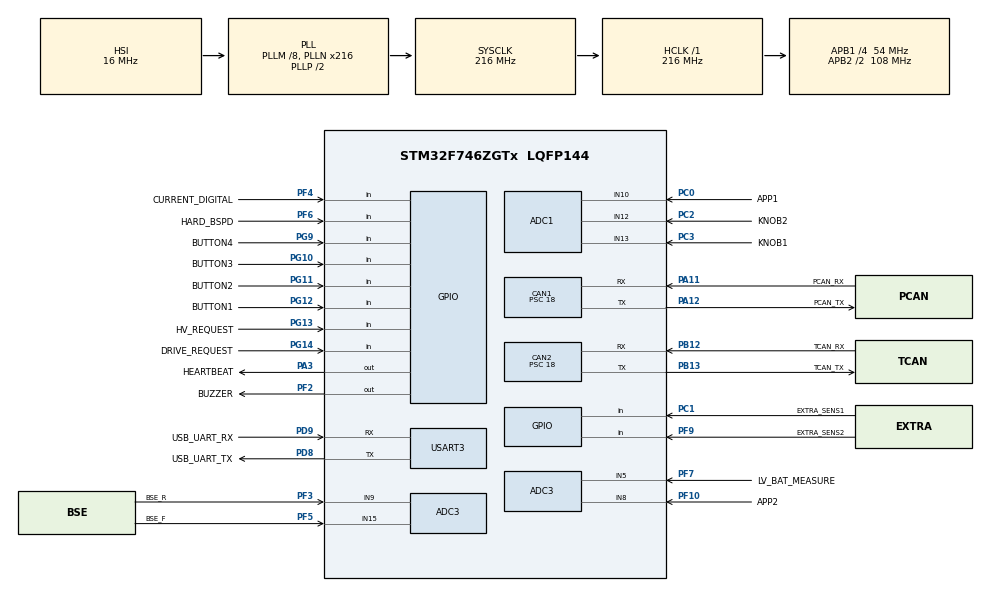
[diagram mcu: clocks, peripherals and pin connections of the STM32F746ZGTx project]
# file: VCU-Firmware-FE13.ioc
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ADC1.Channel-0\#ChannelRegularConversion=ADC_CHANNEL_10
ADC1.NbrOfConversionFlag=1
ADC1.Rank-0\#ChannelRegularConversion=1
ADC1.SamplingTime-0\#ChannelRegularConversion=ADC_SAMPLETIME_3CYCLES
ADC1.master=1
ADC3.Channel-0\#ChannelRegularConversion=ADC_CHANNEL_9
ADC3.NbrOfConversionFlag=1
ADC3.Rank-0\#ChannelRegularConversion=1
ADC3.SamplingTime-0\#ChannelRegularConversion=ADC_SAMPLETIME_3CYCLES
CAN1.BS1=CAN_BS1_2TQ
CAN1.BS2=CAN_BS2_3TQ
CAN1.CalculateBaudRate=499999
CAN1.CalculateTimeBit=2000
CAN1.CalculateTimeQuantum=333.33333333333337
CAN1.NART=DISABLE
CAN1.Prescaler=18
CAN2.BS1=CAN_BS1_2TQ
CAN2.BS2=CAN_BS2_3TQ
CAN2.CalculateBaudRate=499999
CAN2.CalculateTimeBit=2000
CAN2.CalculateTimeQuantum=333.33333333333337
CAN2.NART=DISABLE
CAN2.Prescaler=18
CORTEX_M7.MPU_Control=__NULL
CORTEX_M7.default_mode_Activation=0
Dma.ADC1.0.Direction=DMA_PERIPH_TO_MEMORY
Dma.ADC1.0.FIFOMode=DMA_FIFOMODE_DISABLE
Dma.ADC1.0.Instance=DMA2_Stream0
Dma.ADC1.0.MemDataAlignment=DMA_MDATAALIGN_HALFWORD
Dma.ADC1.0.MemInc=DMA_MINC_ENABLE
Dma.ADC1.0.Mode=DMA_NORMAL
Dma.ADC1.0.PeriphDataAlignment=DMA_PDATAALIGN_HALFWORD
Dma.ADC1.0.PeriphInc=DMA_PINC_DISABLE
Dma.ADC1.0.Priority=DMA_PRIORITY_MEDIUM
Dma.ADC3.1.Direction=DMA_PERIPH_TO_MEMORY
Dma.ADC3.1.FIFOMode=DMA_FIFOMODE_DISABLE
Dma.ADC3.1.Instance=DMA2_Stream1
Dma.ADC3.1.MemDataAlignment=DMA_MDATAALIGN_HALFWORD
Dma.ADC3.1.MemInc=DMA_MINC_ENABLE
Dma.ADC3.1.Mode=DMA_CIRCULAR
Dma.ADC3.1.PeriphDataAlignment=DMA_PDATAALIGN_HALFWORD
Dma.ADC3.1.PeriphInc=DMA_PINC_DISABLE
Dma.ADC3.1.Priority=DMA_PRIORITY_MEDIUM
Dma.Request0=ADC1
Dma.Request1=ADC3
Mcu.Family=STM32F7
Mcu.Name=STM32F746ZGTx
Mcu.Package=LQFP144
NVIC.DMA2_Stream0_IRQn=true\:0\:0\:false\:false\:true\:false\:true\:true
NVIC.DMA2_Stream1_IRQn=true\:0\:0\:false\:false\:true\:false\:true\:true
NVIC.PriorityGroup=NVIC_PRIORITYGROUP_4
PA11.GPIO_Label=PCAN_RX
PA11.Mode=CAN_Activate
PA11.Signal=CAN1_RX
PA12.GPIO_Label=PCAN_TX
PA12.Mode=CAN_Activate
PA12.Signal=CAN1_TX
PA13.Mode=Serial_Wire
PA13.Signal=SYS_JTMS-SWDIO
PA14.Mode=Serial_Wire
PA14.Signal=SYS_JTCK-SWCLK
PA15.Signal=SYS_JTDI
PA3.GPIO_Label=HEARTBEAT
PA3.Signal=GPIO_Output
PB12.GPIO_Label=TCAN_RX
PB12.Mode=CAN_Activate
PB12.Signal=CAN2_RX
PB13.GPIO_Label=TCAN_TX
PB13.Mode=CAN_Activate
PB13.Signal=CAN2_TX
PB3.Signal=SYS_JTDO-SWO
PC0.GPIO_Label=APP1
PC0.Signal=ADCx_IN10
PC1.GPIO_Label=EXTRA_SENS1
PC1.Signal=GPIO_Input
PC2.GPIO_Label=KNOB2
PC2.Signal=ADCx_IN12
PC3.GPIO_Label=KNOB1
PC3.Signal=ADCx_IN13
PD8.GPIO_Label=USB_UART_TX
PD8.Mode=Asynchronous
PD8.Signal=USART3_TX
PD9.GPIO_Label=USB_UART_RX
PD9.Mode=Asynchronous
PD9.Signal=USART3_RX
PF10.GPIO_Label=APP2
PF10.Mode=IN8
PF10.Signal=ADC3_IN8
PF2.GPIO_Label=BUZZER
PF2.Signal=GPIO_Output
PF3.GPIO_Label=BSE_R
PF3.Mode=IN9
PF3.Signal=ADC3_IN9
PF4.GPIO_Label=CURRENT_DIGITAL
PF4.Signal=GPIO_Input
PF5.GPIO_Label=BSE_F
PF5.Mode=IN15
PF5.Signal=ADC3_IN15
PF6.GPIO_Label=HARD_BSPD
PF6.Signal=GPIO_Input
PF7.GPIO_Label=LV_BAT_MEASURE
PF7.Mode=IN5
PF7.Signal=ADC3_IN5
PF9.GPIO_Label=EXTRA_SENS2
PF9.Signal=GPIO_Input
PG10.GPIO_Label=BUTTON3
PG10.Signal=GPIO_Input
PG11.GPIO_Label=BUTTON2
PG11.Signal=GPIO_Input
PG12.GPIO_Label=BUTTON1
PG12.Signal=GPIO_Input
PG13.GPIO_Label=HV_REQUEST
PG13.Signal=GPIO_Input
PG14.GPIO_Label=DRIVE_REQUEST
PG14.Signal=GPIO_Input
PG9.GPIO_Label=BUTTON4
PG9.Signal=GPIO_Input
PH0/OSC_IN.Mode=HSE-External-Oscillator
PH0/OSC_IN.Signal=RCC_OSC_IN
PH1/OSC_OUT.Mode=HSE-External-Oscillator
PH1/OSC_OUT.Signal=RCC_OSC_OUT
ProjectManager.HeapSize=0x200
ProjectManager.StackSize=0x400
ProjectManager.TargetToolchain=STM32CubeIDE
RCC.AHBFreq_Value=216000000
RCC.APB1CLKDivider=RCC_HCLK_DIV4
RCC.APB1Freq_Value=54000000
RCC.APB1TimFreq_Value=108000000
RCC.APB2CLKDivider=RCC_HCLK_DIV2
RCC.APB2Freq_Value=108000000
RCC.APB2TimFreq_Value=216000000
RCC.CortexFreq_Value=216000000
RCC.HCLKFreq_Value=216000000
RCC.HSE_VALUE=16000000
RCC.HSI_VALUE=16000000
RCC.LSE_VALUE=32768
RCC.PLLM=8
RCC.PLLN=216
RCC.SYSCLKFreq_VALUE=216000000
RCC.SYSCLKSource=RCC_SYSCLKSOURCE_PLLCLK
RCC.USBFreq_Value=216000000
RCC.VCOOutputFreq_Value=432000000
SH.ADCx_IN10.0=ADC1_IN10,IN10
SH.ADCx_IN12.0=ADC1_IN12,IN12
SH.ADCx_IN13.0=ADC1_IN13,IN13
USART3.VirtualMode-Asynchronous=VM_ASYNC
board=custom

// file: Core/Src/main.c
/* USER CODE BEGIN Header */
/**
  ******************************************************************************
  * @file           : main.c
  * @brief          : Main program body
  ******************************************************************************
  * @attention
  *
  * Copyright (c) 2025 STMicroelectronics.
  * All rights reserved.
  *
  * This software is licensed under terms that can be found in the LICENSE file
  * in the root directory of this software component.
  * If no LICENSE file comes with this software, it is provided AS-IS.
  *
  ******************************************************************************
  */
/* USER CODE END Header */
#include "main.h"

/* USER CODE BEGIN Includes */
#include "stdio.h"
#include "inttypes.h"
#include "can_manager.h"
#include "sensors.h"
#include "fsm.h"
#include "traction_control.h"
#include "driver_input.h"
#include "serial_print.h"
#include "config.h"
/* USER CODE END Includes */

ADC_HandleTypeDef hadc1;
ADC_HandleTypeDef hadc3;
DMA_HandleTypeDef hdma_adc1;
DMA_HandleTypeDef hdma_adc3;

CAN_HandleTypeDef hcan1;
CAN_HandleTypeDef hcan2;

UART_HandleTypeDef huart3;

/* USER CODE BEGIN PV */

// Keeps track of timer waiting for pre-charging
volatile unsigned int precharge_timer_ms = 0;
volatile uint8_t init_fault_cleared = 0;
extern uint32_t torque_req;

// for drive buzzer
#define BUZZ_TIME_MS 1500

/* USER CODE END PV */

void SystemClock_Config(void);
static void MX_GPIO_Init(void);
static void MX_DMA_Init(void);
static void MX_CAN1_Init(void);
static void MX_CAN2_Init(void);
static void MX_ADC1_Init(void);
static void MX_USART3_UART_Init(void);
static void MX_ADC3_Init(void);

/* USER CODE BEGIN 0 */
uint8_t shutdown_closed() {
    if (estop_flags) return 0;
    return (shutdown_flags & 0b00111000) == 0b00111000;
}

void buzzerer()
{
	static state_t last_vcu_state = LV;
	static uint32_t buzz_start = 0;
	uint32_t tick = HAL_GetTick();

	if(last_vcu_state == HV_ENABLED && state == DRIVE)
	{
		HAL_GPIO_WritePin(BUZZER_GPIO_Port, BUZZER_Pin, 1); // turn on buzzer
		buzz_start = tick;
	}
	else if(state != DRIVE || (tick - buzz_start) > BUZZ_TIME_MS)
	{
		HAL_GPIO_WritePin(BUZZER_GPIO_Port, BUZZER_Pin, 0); // turn off buzzer
	}
	else
	{
		// ice cream?
	}

	last_vcu_state = state;
}

unsigned int discrepancy_timer_ms = 0;

extern volatile uint32_t torque_percentage;
extern volatile uint32_t launch_control_param;
extern volatile uint32_t prev_torque_percentage;
extern volatile uint32_t prev_launch_control_param;
/* USER CODE END 0 */

int main(void)
{

  /* MCU Configuration--------------------------------------------------------*/

  /* Reset of all peripherals, Initializes the Flash interface and the Systick. */
  HAL_Init();

  /* Configure the system clock */
  SystemClock_Config();

  /* Initialize all configured peripherals */
  MX_GPIO_Init();
  MX_DMA_Init();
  MX_CAN1_Init();
  MX_CAN2_Init();
  MX_ADC1_Init();
  MX_USART3_UART_Init();
  MX_ADC3_Init();
  /* USER CODE BEGIN 2 */

	uint32_t precharge_tick_start = 0;
	init_sensors();

  /* USER CODE END 2 */

  /* Infinite loop */
  while (1)
  {

    /* USER CODE BEGIN 3 */

	// driver input
	driver_input_update();

	update_sensor_vals(&hadc1, &hadc3);

	buzzerer();

	/*
	 * T.4.2.5 in FSAE 2022 rulebook
	 * If an implausibility occurs between the values of the APPSs and
	 * persists for more than 100 msec, the power to the Motor(s) must
	 * be immediately stopped completely.
	 *
	 * It is not necessary to Open the Shutdown Circuit, the motor
	 * controller(s) stopping the power to the Motor(s) is sufficient.
	 */
	if (has_discrepancy()) {
		discrepancy_timer_ms += TMR1_PERIOD_MS;
		if (discrepancy_timer_ms > MAX_DISCREPANCY_MS && state == DRIVE) {
			report_fault(SENSOR_DISCREPANCY);
		}
	} else {
		discrepancy_timer_ms = 0;
	}

	// Transmit CAN messages
	can_tx_vcu_state(&hcan1);
	can_tx_torque_request(&hcan1);
	can_tx_pedals_raw(&hcan1);
	can_tx_power(&hcan1);

	// traction control // TODO ADD BACK ONCE WHEEL SPEEDS HAVE BEEN FIGURED OUT
//	if (is_button_enabled(TC_BUTTON)) {
//		traction_control_PID(front_right_wheel_speed, front_left_wheel_speed);
//	}

	// If shutdown circuit opens in any state
	if (!shutdown_closed()) {
		report_fault(SHUTDOWN_CIRCUIT_OPEN);
	}

	//if hard BSPD trips in any state
//	if (!HAL_GPIO_ReadPin(HARD_BSPD_GPIO_Port, HARD_BSPD_Pin)) {
//	  report_fault(HARD_BSPD);
//	}

	if (mc_fault) {
	  report_fault(MC_FAULT);
	}

//  	if (!init_fault_cleared && mc_fault) {
//  		can_clear_MC_fault(&hcan1);
//  	  if (mc_fault_clear_success) {
//  		 init_fault_cleared = 1;
//  	  }
//  	}

	// send driver inputs to raspi on change OR if configured to constantly send
	if (ALWAYS_SEND_DRIVER_INPUTS ||
		(torque_percentage != prev_torque_percentage || launch_control_param != prev_launch_control_param) ) {
		can_tx_buttons_and_knobs(&hcan1);
	}

	switch (state) {
		case LV_LOCK:
			run_calibration();

			if (!is_switch_on(HV_SWITCH) && !is_switch_on(DRIVE_SWITCH)) {
			  change_state(LV);
			}
			break;
		case LV:
			run_calibration();

			// check if APPS pedal was calibrated
			if(!sensors_calibrated()){
				report_fault(UNCALIBRATED);
				break;
			}

			if (is_switch_on(HV_SWITCH)) {
				add_apps_deadzone();
				precharge_tick_start = HAL_GetTick();
				change_state(PRECHARGING);
				break;
			}

			break;
		case PRECHARGING:
			// Driver turned off HV via button
			if (!is_switch_on(HV_SWITCH)) {
				change_state(LV);
				break;
			}

			if((HAL_GetTick() - precharge_tick_start) > PRECHARGE_TIMEOUT_MS){
				report_fault(PRECHARGE_TIMEOUT);
				break;
			}

		  // if main AIRs closed
			if ((shutdown_flags & 0b110) == 0b110) {
				// Finished charging to HV on time
				change_state(HV_ENABLED);
				break;
			}

			break;
		case HV_LOCK:
			if (!is_switch_on(HV_SWITCH)) {
				// Driver flipped off HV switch
				change_state(LV);
				break;
			}

			if(!is_switch_on(DRIVE_SWITCH)){
				// wait until drive is low to switch into true HV
				change_state(HV_ENABLED);
			}
			break;
		case HV_ENABLED:
			// driver turned off HV
			if (!is_switch_on(HV_SWITCH)) {// || capacitor_volt < PRECHARGE_THRESHOLD) { // don't really need volt check by rules
				change_state(LV);
				break;
			}

			// driver attempt to go to drive mode
			if (is_switch_on(DRIVE_SWITCH)) {
				if (brake_mashed()) {
					change_state(DRIVE);
				}
				else {
					// driver didn't press brake
					report_fault(BRAKE_NOT_PRESSED);
				}
			}

			break;
		case DRIVE:
			// driver turned off drive
			if (!is_switch_on(DRIVE_SWITCH)) {
				change_state(HV_ENABLED);
				break;
			}

			if (!is_switch_on(HV_SWITCH)) {// || capacitor_volt < PRECHARGE_THRESHOLD) { // don't really need volt check by rules
				// driver turned off HV
				change_state(LV);
				break;
			}

			if (is_brake_implausible()) {
				report_fault(BRAKE_IMPLAUSIBLE);
			}

			break;
		case FAULT:
			switch (error) {
				case BRAKE_NOT_PRESSED:
					if (!is_switch_on(HV_SWITCH)){
						change_state(LV);
						break;
					}

					if (!is_switch_on(DRIVE_SWITCH)) {
						// reset drive switch and try again
						change_state(HV_ENABLED);
					}
					break;
				case SENSOR_DISCREPANCY:
					// stop power to motors if discrepancy persists for >100ms
					// see rule T.4.2.5 in FSAE 2022 rulebook
					if (!is_switch_on(DRIVE_SWITCH)) {
						discrepancy_timer_ms = 0;
						change_state(HV_ENABLED);
					}

					if (!is_switch_on(HV_SWITCH))
						change_state(LV);

					break;
				case BRAKE_IMPLAUSIBLE:
					if (!is_switch_on(HV_SWITCH)){
						change_state(LV);
						break;
					}

					if (!is_switch_on(DRIVE_SWITCH)){
						change_state(HV_ENABLED);
						break;
					}

					if (!is_brake_implausible()){
						change_state(DRIVE);
						break;
					}

					break;
				case SHUTDOWN_CIRCUIT_OPEN:
					if (shutdown_closed()) {
						change_state(LV); // change to startup so we don't instantly request precharge
					}
					break;
				case HARD_BSPD:
				  //should not be recoverable, but let hardware decide this
				  /*if (!HAL_GPIO_ReadPin(HARD_BSPD_GPIO_Port, HARD_BSPD_Pin)) {
					  change_state(LV);
				  }*/
					break;

				case UNCALIBRATED:
					run_calibration();

					// check if APPS pedal was calibrated
					if(sensors_calibrated()){
						change_state(LV); // change to startup so we don't instantly request precharge
						break;
					}
					break;
				case MC_FAULT:
					if (!mc_fault) {
						change_state(LV);
					}
					break;
				case PRECHARGE_TIMEOUT:
					// give time for fault message to show on display before going to LV
					if ((HAL_GetTick() - precharge_tick_start) > PRECHARGE_TIMEOUT_MS+1000) {
						change_state(LV);
					}
					break;
				default:
					break;
			}
		break;
	  }

	//HAL_GPIO_TogglePin(HEARTBEAT_GPIO_Port, HEARTBEAT_Pin);
	HAL_Delay(1);
  }
  /* USER CODE END 3 */
}

void SystemClock_Config(void)
{
  RCC_OscInitTypeDef RCC_OscInitStruct = {0};
  RCC_ClkInitTypeDef RCC_ClkInitStruct = {0};

  /** Configure the main internal regulator output voltage
  */
  __HAL_RCC_PWR_CLK_ENABLE();
  __HAL_PWR_VOLTAGESCALING_CONFIG(PWR_REGULATOR_VOLTAGE_SCALE1);

  /** Initializes the RCC Oscillators according to the specified parameters
  * in the RCC_OscInitTypeDef structure.
  */
  RCC_OscInitStruct.OscillatorType = RCC_OSCILLATORTYPE_HSI;
  RCC_OscInitStruct.HSIState = RCC_HSI_ON;
  RCC_OscInitStruct.HSICalibrationValue = RCC_HSICALIBRATION_DEFAULT;
  RCC_OscInitStruct.PLL.PLLState = RCC_PLL_ON;
  RCC_OscInitStruct.PLL.PLLSource = RCC_PLLSOURCE_HSI;
  RCC_OscInitStruct.PLL.PLLM = 8;
  RCC_OscInitStruct.PLL.PLLN = 216;
  RCC_OscInitStruct.PLL.PLLP = RCC_PLLP_DIV2;
  RCC_OscInitStruct.PLL.PLLQ = 2;
  if (HAL_RCC_OscConfig(&RCC_OscInitStruct) != HAL_OK)
  {
    Error_Handler();
  }

  /** Activate the Over-Drive mode
  */
  if (HAL_PWREx_EnableOverDrive() != HAL_OK)
  {
    Error_Handler();
  }

  /** Initializes the CPU, AHB and APB buses clocks
  */
  RCC_ClkInitStruct.ClockType = RCC_CLOCKTYPE_HCLK|RCC_CLOCKTYPE_SYSCLK
                              |RCC_CLOCKTYPE_PCLK1|RCC_CLOCKTYPE_PCLK2;
  RCC_ClkInitStruct.SYSCLKSource = RCC_SYSCLKSOURCE_PLLCLK;
  RCC_ClkInitStruct.AHBCLKDivider = RCC_SYSCLK_DIV1;
  RCC_ClkInitStruct.APB1CLKDivider = RCC_HCLK_DIV4;
  RCC_ClkInitStruct.APB2CLKDivider = RCC_HCLK_DIV2;

  if (HAL_RCC_ClockConfig(&RCC_ClkInitStruct, FLASH_LATENCY_7) != HAL_OK)
  {
    Error_Handler();
  }
}

static void MX_ADC1_Init(void)
{

  ADC_ChannelConfTypeDef sConfig = {0};

  /** Configure the global features of the ADC (Clock, Resolution, Data Alignment and number of conversion)
  */
  hadc1.Instance = ADC1;
  hadc1.Init.ClockPrescaler = ADC_CLOCK_SYNC_PCLK_DIV4;
  hadc1.Init.Resolution = ADC_RESOLUTION_12B;
  hadc1.Init.ScanConvMode = ADC_SCAN_DISABLE;
  hadc1.Init.ContinuousConvMode = DISABLE;
  hadc1.Init.DiscontinuousConvMode = DISABLE;
  hadc1.Init.ExternalTrigConvEdge = ADC_EXTERNALTRIGCONVEDGE_NONE;
  hadc1.Init.ExternalTrigConv = ADC_SOFTWARE_START;
  hadc1.Init.DataAlign = ADC_DATAALIGN_RIGHT;
  hadc1.Init.NbrOfConversion = 1;
  hadc1.Init.DMAContinuousRequests = DISABLE;
  hadc1.Init.EOCSelection = ADC_EOC_SINGLE_CONV;
  if (HAL_ADC_Init(&hadc1) != HAL_OK)
  {
    Error_Handler();
  }

  /** Configure for the selected ADC regular channel its corresponding rank in the sequencer and its sample time.
  */
  sConfig.Channel = ADC_CHANNEL_10;
  sConfig.Rank = ADC_REGULAR_RANK_1;
  sConfig.SamplingTime = ADC_SAMPLETIME_3CYCLES;
  if (HAL_ADC_ConfigChannel(&hadc1, &sConfig) != HAL_OK)
  {
    Error_Handler();
  }

}

static void MX_ADC3_Init(void)
{

  ADC_ChannelConfTypeDef sConfig = {0};

  /** Configure the global features of the ADC (Clock, Resolution, Data Alignment and number of conversion)
  */
  hadc3.Instance = ADC3;
  hadc3.Init.ClockPrescaler = ADC_CLOCK_SYNC_PCLK_DIV4;
  hadc3.Init.Resolution = ADC_RESOLUTION_12B;
  hadc3.Init.ScanConvMode = ADC_SCAN_DISABLE;
  hadc3.Init.ContinuousConvMode = DISABLE;
  hadc3.Init.DiscontinuousConvMode = DISABLE;
  hadc3.Init.ExternalTrigConvEdge = ADC_EXTERNALTRIGCONVEDGE_NONE;
  hadc3.Init.ExternalTrigConv = ADC_SOFTWARE_START;
  hadc3.Init.DataAlign = ADC_DATAALIGN_RIGHT;
  hadc3.Init.NbrOfConversion = 1;
  hadc3.Init.DMAContinuousRequests = DISABLE;
  hadc3.Init.EOCSelection = ADC_EOC_SINGLE_CONV;
  if (HAL_ADC_Init(&hadc3) != HAL_OK)
  {
    Error_Handler();
  }

  /** Configure for the selected ADC regular channel its corresponding rank in the sequencer and its sample time.
  */
  sConfig.Channel = ADC_CHANNEL_9;
  sConfig.Rank = ADC_REGULAR_RANK_1;
  sConfig.SamplingTime = ADC_SAMPLETIME_3CYCLES;
  if (HAL_ADC_ConfigChannel(&hadc3, &sConfig) != HAL_OK)
  {
    Error_Handler();
  }

}

static void MX_CAN1_Init(void)
{

  hcan1.Instance = CAN1;
  hcan1.Init.Prescaler = 18;
  hcan1.Init.Mode = CAN_MODE_NORMAL;
  hcan1.Init.SyncJumpWidth = CAN_SJW_1TQ;
  hcan1.Init.TimeSeg1 = CAN_BS1_2TQ;
  hcan1.Init.TimeSeg2 = CAN_BS2_3TQ;
  hcan1.Init.TimeTriggeredMode = DISABLE;
  hcan1.Init.AutoBusOff = DISABLE;
  hcan1.Init.AutoWakeUp = DISABLE;
  hcan1.Init.AutoRetransmission = DISABLE;
  hcan1.Init.ReceiveFifoLocked = DISABLE;
  hcan1.Init.TransmitFifoPriority = DISABLE;
  if (HAL_CAN_Init(&hcan1) != HAL_OK)
  {
    Error_Handler();
  }
  /* USER CODE BEGIN CAN1_Init 2 */
	/*##-2- Configure the CAN Filter ###########################################*/
	CAN_FilterTypeDef canfilterconfig;

	canfilterconfig.FilterActivation = CAN_FILTER_ENABLE;
	canfilterconfig.FilterBank = 18;  // which filter bank to use from the assigned ones
	canfilterconfig.FilterFIFOAssignment = CAN_FILTER_FIFO0;
	canfilterconfig.FilterIdHigh = 0x0;
	canfilterconfig.FilterIdLow = 0x0;
	canfilterconfig.FilterMaskIdHigh = 0x0;
	canfilterconfig.FilterMaskIdLow = 0x0000;
	canfilterconfig.FilterMode = CAN_FILTERMODE_IDMASK;
	canfilterconfig.FilterScale = CAN_FILTERSCALE_32BIT;
	canfilterconfig.SlaveStartFilterBank = 20;  // how many filters to assign to the CAN1 (master can)

	if (HAL_CAN_ConfigFilter(&hcan1, &canfilterconfig) != HAL_OK)
	{
	  /* Filter configuration Error */
	  Error_Handler();
	}

	/*##-3- Start the CAN peripheral ###########################################*/
	if (HAL_CAN_Start(&hcan1) != HAL_OK)
	{
	  /* Start Error */
	  Error_Handler();
	}

	/*##-4- Activate CAN RX notification #######################################*/
	if (HAL_CAN_ActivateNotification(&hcan1, CAN_IT_RX_FIFO0_MSG_PENDING) != HAL_OK)
	{
	  /* Notification Error */
	  Error_Handler();
	}

  /* USER CODE END CAN1_Init 2 */

}

static void MX_CAN2_Init(void)
{

  hcan2.Instance = CAN2;
  hcan2.Init.Prescaler = 18;
  hcan2.Init.Mode = CAN_MODE_NORMAL;
  hcan2.Init.SyncJumpWidth = CAN_SJW_1TQ;
  hcan2.Init.TimeSeg1 = CAN_BS1_2TQ;
  hcan2.Init.TimeSeg2 = CAN_BS2_3TQ;
  hcan2.Init.TimeTriggeredMode = DISABLE;
  hcan2.Init.AutoBusOff = DISABLE;
  hcan2.Init.AutoWakeUp = DISABLE;
  hcan2.Init.AutoRetransmission = DISABLE;
  hcan2.Init.ReceiveFifoLocked = DISABLE;
  hcan2.Init.TransmitFifoPriority = DISABLE;
  if (HAL_CAN_Init(&hcan2) != HAL_OK)
  {
    Error_Handler();
  }
  /* USER CODE BEGIN CAN2_Init 2 */

  if (HAL_CAN_Start(&hcan2) != HAL_OK) {
	  Error_Handler();
  }

  /* USER CODE END CAN2_Init 2 */

}

static void MX_USART3_UART_Init(void)
{

  huart3.Instance = USART3;
  huart3.Init.BaudRate = 115200;
  huart3.Init.WordLength = UART_WORDLENGTH_8B;
  huart3.Init.StopBits = UART_STOPBITS_1;
  huart3.Init.Parity = UART_PARITY_NONE;
  huart3.Init.Mode = UART_MODE_TX_RX;
  huart3.Init.HwFlowCtl = UART_HWCONTROL_NONE;
  huart3.Init.OverSampling = UART_OVERSAMPLING_16;
  huart3.Init.OneBitSampling = UART_ONE_BIT_SAMPLE_DISABLE;
  huart3.AdvancedInit.AdvFeatureInit = UART_ADVFEATURE_NO_INIT;
  if (HAL_UART_Init(&huart3) != HAL_OK)
  {
    Error_Handler();
  }

}

static void MX_DMA_Init(void)
{

  /* DMA controller clock enable */
  __HAL_RCC_DMA2_CLK_ENABLE();

  /* DMA interrupt init */
  /* DMA2_Stream0_IRQn interrupt configuration */
  HAL_NVIC_SetPriority(DMA2_Stream0_IRQn, 0, 0);
  HAL_NVIC_EnableIRQ(DMA2_Stream0_IRQn);
  /* DMA2_Stream1_IRQn interrupt configuration */
  HAL_NVIC_SetPriority(DMA2_Stream1_IRQn, 0, 0);
  HAL_NVIC_EnableIRQ(DMA2_Stream1_IRQn);

}

static void MX_GPIO_Init(void)
{
  GPIO_InitTypeDef GPIO_InitStruct = {0};

  /* GPIO Ports Clock Enable */
  __HAL_RCC_GPIOF_CLK_ENABLE();
  __HAL_RCC_GPIOH_CLK_ENABLE();
  __HAL_RCC_GPIOC_CLK_ENABLE();
  __HAL_RCC_GPIOA_CLK_ENABLE();
  __HAL_RCC_GPIOB_CLK_ENABLE();
  __HAL_RCC_GPIOD_CLK_ENABLE();
  __HAL_RCC_GPIOG_CLK_ENABLE();

  /*Configure GPIO pin Output Level */
  HAL_GPIO_WritePin(BUZZER_GPIO_Port, BUZZER_Pin, GPIO_PIN_RESET);

  /*Configure GPIO pin Output Level */
  HAL_GPIO_WritePin(HEARTBEAT_GPIO_Port, HEARTBEAT_Pin, GPIO_PIN_RESET);

  /*Configure GPIO pin : BUZZER_Pin */
  GPIO_InitStruct.Pin = BUZZER_Pin;
  GPIO_InitStruct.Mode = GPIO_MODE_OUTPUT_PP;
  GPIO_InitStruct.Pull = GPIO_NOPULL;
  GPIO_InitStruct.Speed = GPIO_SPEED_FREQ_LOW;
  HAL_GPIO_Init(BUZZER_GPIO_Port, &GPIO_InitStruct);

  /*Configure GPIO pins : CURRENT_DIGITAL_Pin HARD_BSPD_Pin EXTRA_SENS2_Pin */
  GPIO_InitStruct.Pin = CURRENT_DIGITAL_Pin|HARD_BSPD_Pin|EXTRA_SENS2_Pin;
  GPIO_InitStruct.Mode = GPIO_MODE_INPUT;
  GPIO_InitStruct.Pull = GPIO_NOPULL;
  HAL_GPIO_Init(GPIOF, &GPIO_InitStruct);

  /*Configure GPIO pin : EXTRA_SENS1_Pin */
  GPIO_InitStruct.Pin = EXTRA_SENS1_Pin;
  GPIO_InitStruct.Mode = GPIO_MODE_INPUT;
  GPIO_InitStruct.Pull = GPIO_NOPULL;
  HAL_GPIO_Init(EXTRA_SENS1_GPIO_Port, &GPIO_InitStruct);

  /*Configure GPIO pin : HEARTBEAT_Pin */
  GPIO_InitStruct.Pin = HEARTBEAT_Pin;
  GPIO_InitStruct.Mode = GPIO_MODE_OUTPUT_PP;
  GPIO_InitStruct.Pull = GPIO_NOPULL;
  GPIO_InitStruct.Speed = GPIO_SPEED_FREQ_LOW;
  HAL_GPIO_Init(HEARTBEAT_GPIO_Port, &GPIO_InitStruct);

  /*Configure GPIO pins : BUTTON4_Pin BUTTON3_Pin BUTTON2_Pin BUTTON1_Pin
                           HV_REQUEST_Pin DRIVE_REQUEST_Pin */
  GPIO_InitStruct.Pin = BUTTON4_Pin|BUTTON3_Pin|BUTTON2_Pin|BUTTON1_Pin
                          |HV_REQUEST_Pin|DRIVE_REQUEST_Pin;
  GPIO_InitStruct.Mode = GPIO_MODE_INPUT;
  GPIO_InitStruct.Pull = GPIO_NOPULL;
  HAL_GPIO_Init(GPIOG, &GPIO_InitStruct);

}

void Error_Handler(void)
{
  __disable_irq();
  while (1)
  {
  }
}
